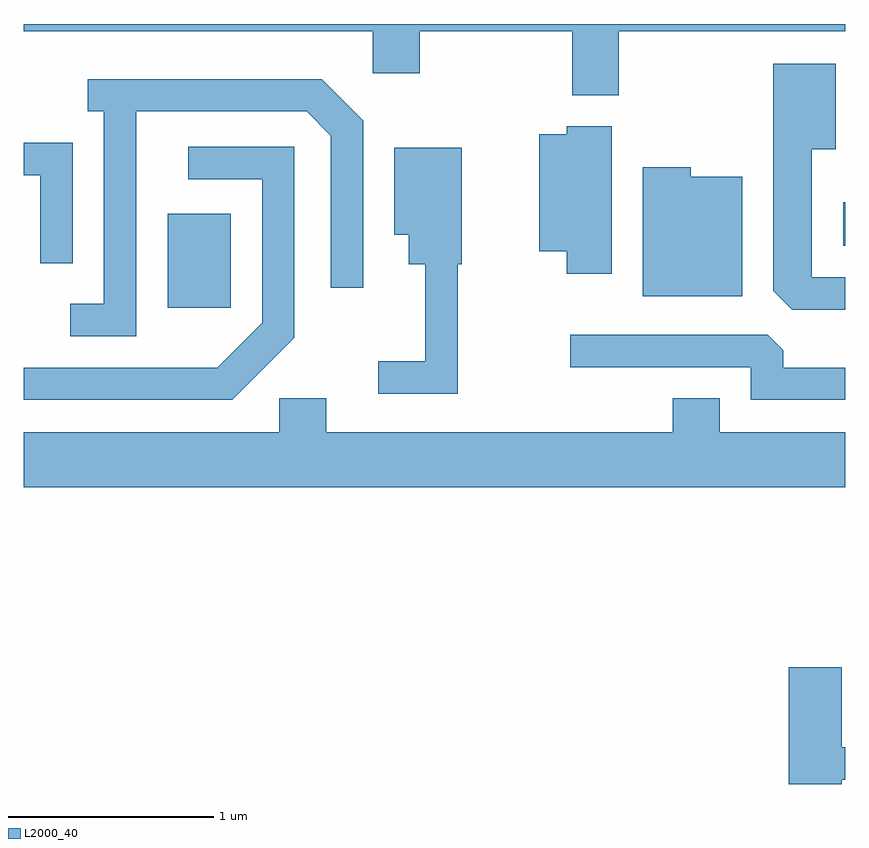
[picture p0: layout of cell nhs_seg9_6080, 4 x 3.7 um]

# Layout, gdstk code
import gdstk
lib = gdstk.Library(unit=1e-6, precision=1e-09)
def R(c, l, rs):  # rectangles x0, y0, x1, y1
    for r in rs: c.add(gdstk.rectangle(r[:2], r[2:], *l))
def P(c, l, *ps):  # polygons
    for p in ps: c.add(gdstk.Polygon(p, *l))
L2000_40 = (2000, 40)

nhs_seg9_6080 = lib.new_cell('nhs_seg9_6080')
R(nhs_seg9_6080, L2000_40, [(364.311,2077.051,364.619,2077.509), (367.601,2077.351,367.611,2077.564)])
P(nhs_seg9_6080, L2000_40, [(366.509,2078.396),(367.611,2078.396),(367.611,2078.432),(363.611,2078.432),(363.611,2078.396),(365.311,2078.396),(365.311,2078.191),(365.539,2078.191),(365.539,2078.396),(366.281,2078.396),(366.281,2078.086),(366.509,2078.086)],
  [(367.611,2077.199),(367.449,2077.199),(367.449,2077.821),(367.564,2077.821),(367.564,2078.239),(367.261,2078.239),(367.261,2077.132),(367.352,2077.041),(367.611,2077.041)],
  [(364.159,2078.006),(364.989,2078.006),(365.106,2077.889),(365.106,2077.148),(365.264,2077.148),(365.264,2077.962),(365.062,2078.164),(363.923,2078.164),(363.923,2078.006),(364.001,2078.006),(364.001,2077.069),(363.838,2077.069),(363.838,2076.911),(364.159,2076.911)],
  [(366.474,2077.934),(366.256,2077.934),(366.256,2077.894),(366.121,2077.894),(366.121,2077.326),(366.256,2077.326),(366.256,2077.216),(366.474,2077.216)],
  [(363.849,2077.854),(363.611,2077.854),(363.611,2077.696),(363.691,2077.696),(363.691,2077.268),(363.849,2077.268)],
  [(364.929,2076.904),(364.929,2077.834),(364.413,2077.834),(364.413,2077.676),(364.771,2077.676),(364.771,2076.977),(364.554,2076.759),(363.611,2076.759),(363.611,2076.601),(364.627,2076.601)],
  [(365.724,2077.261),(365.744,2077.261),(365.744,2077.829),(365.416,2077.829),(365.416,2077.406),(365.486,2077.406),(365.486,2077.261),(365.566,2077.261),(365.566,2076.789),(365.338,2076.789),(365.338,2076.631),(365.724,2076.631)],
  [(367.109,2077.689),(366.859,2077.689),(366.859,2077.734),(366.626,2077.734),(366.626,2077.106),(367.109,2077.106)],
  [(367.611,2076.759),(367.309,2076.759),(367.309,2076.844),(367.234,2076.919),(366.273,2076.919),(366.273,2076.761),(367.151,2076.761),(367.151,2076.601),(367.611,2076.601)],
  [(367.611,2076.444),(366.999,2076.444),(366.999,2076.609),(366.771,2076.609),(366.771,2076.444),(365.084,2076.444),(365.084,2076.609),(364.856,2076.609),(364.856,2076.444),(363.611,2076.444),(363.611,2076.176),(367.611,2076.176)],
  [(367.594,2074.751),(367.611,2074.751),(367.611,2074.909),(367.594,2074.909),(367.594,2075.299),(367.336,2075.299),(367.336,2074.731),(367.594,2074.731)])

lib.write_gds('nhs_seg9_6080.gds')
